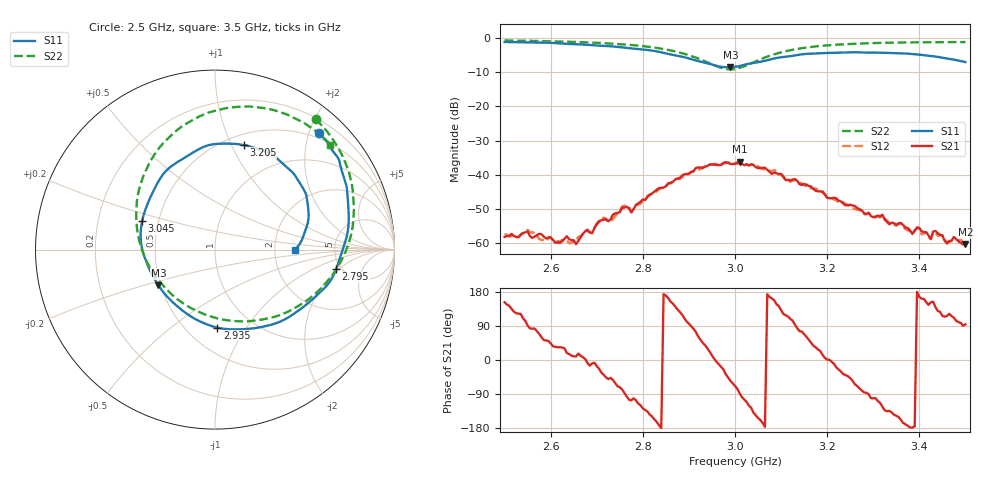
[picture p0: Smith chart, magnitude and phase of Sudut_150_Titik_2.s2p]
# Hz S RI R 50
! CMT, C1220, 16058040, 17.2.0/1
! Date: 15/08/2018 10:50:00
! Data: Format (Calibration Info)
! Freq  S11: Re/Im (F2)  S21: Re/Im (F2)  S12: Re/Im (F2)  S22: Re/Im (F2)
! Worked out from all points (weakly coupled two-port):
!   201 points, 2.5 GHz to 3.5 GHz, reference 50 ohm
!   highest |S21| = -36.21 dB at 3.01 GHz (marker M1); lowest = -60.4 dB at 3.5 GHz (marker M2)
!   lowest |S11| = -8.6 dB at 2.99 GHz (marker M3), VSWR 2.19, Z = 24.3 - j11.2 ohm
!   |S11| at or under -10 dB: nowhere
!   |S22| runs from -9.2 to -0.7 dB; largest |S21 - S12| = 0.0011
!   S11 on the Smith chart (normalised r, x): 2.5 GHz: 0.40, +2.17; 2.795 GHz: 4.52, -1.87; 2.935 GHz: 0.70, -0.75; 3.045 GHz: 0.40, +0.16; 3.205 GHz: 0.61, +1.11; 3.5 GHz: 2.59, -0.02
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2.5e9  0.5804 0.6499  -0.00109 0.000574  -0.00122 0.000601  0.5625 0.7259
2.55e9  0.637 0.5765  -2.23e-05 0.00149  -0.000179 0.00156  0.6185 0.6652
2.59e9  0.6893 0.5036  0.00073 0.000917  0.000601 0.000887  0.6614 0.6068
2.655e9  0.7344 0.3425  0.000955 0.000157  0.00104 0.00027  0.7249 0.4879
2.67e9  0.7376 0.3117  0.00136 0.000171  0.00136 9.93e-05  0.7377 0.4549
2.715e9  0.7451 0.1762  0.00171 -0.0014  0.00182 -0.00151  0.7655 0.3437
2.73e9  0.7436 0.1334  0.0015 -0.00163  0.00122 -0.00159  0.7698 0.3033
2.755e9  0.7251 0.0419  0.000684 -0.00321  0.000917 -0.00332  0.774 0.2297
2.775e9  0.703 -0.0266  -0.0008 -0.00269  -0.000932 -0.00273  0.771 0.1633
2.795e9  0.6746 -0.1101  -0.00199 -0.0035  -0.00191 -0.00328  0.7609 0.0929
2.835e9  0.5756 -0.2474  -0.00632 -0.0009  -0.00602 -0.00104  0.7023 -0.0643
2.935e9  0.0124 -0.4346  0.0102 0.0082  0.00996 0.0087  0.2259 -0.3951
2.99e9  -0.3158 -0.1979  0.00826 -0.0118  0.00883 -0.0122  -0.212 -0.2752
3e9  -0.3535 -0.1342  0.00533 -0.0134  0.00457 -0.0137  -0.2774 -0.2134
3.01e9  -0.383 -0.0665  0.000608 -0.0155  0.000608 -0.0147  -0.3347 -0.1448
3.045e9  -0.4057 0.1583  -0.0106 -0.00726  -0.0112 -0.00787  -0.4359 0.1313
3.1e9  -0.2536 0.4561  -0.00682 0.00775  -0.0063 0.00777  -0.3532 0.5044
3.17e9  0.0279 0.5899  0.00491 0.00379  0.00466 0.00421  -0.0914 0.7395
3.205e9  0.1592 0.5827  0.00454 4.29e-05  0.00463 -0.000242  0.0361 0.7824
3.32e9  0.4444 0.415  -0.00144 -0.00218  -0.00134 -0.00217  0.3584 0.7678
3.335e9  0.4649 0.3837  -0.00132 -0.00135  -0.00145 -0.00133  0.3905 0.7564
3.5e9  0.4435 -0.00272  -7e-05 0.000957  5.03e-05 0.000904  0.6435 0.5854
